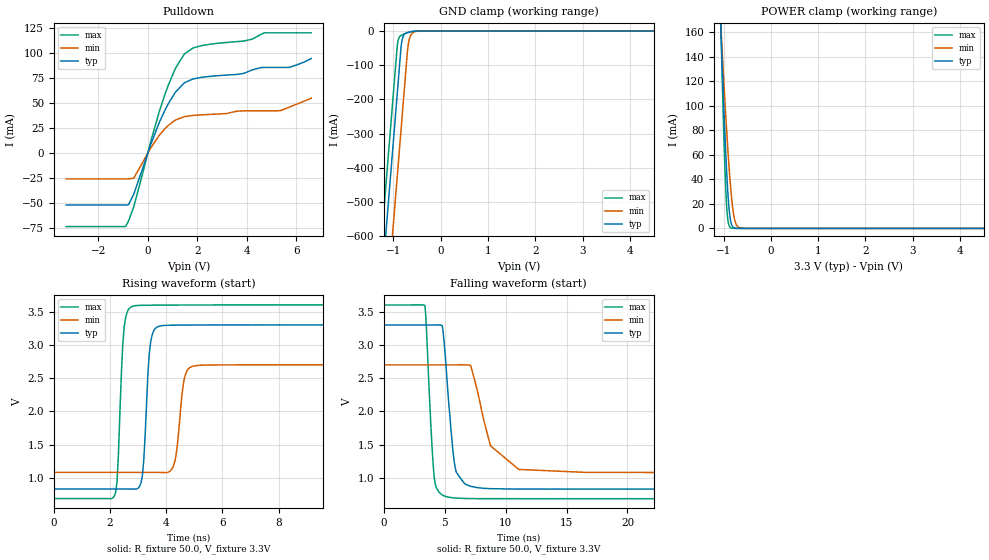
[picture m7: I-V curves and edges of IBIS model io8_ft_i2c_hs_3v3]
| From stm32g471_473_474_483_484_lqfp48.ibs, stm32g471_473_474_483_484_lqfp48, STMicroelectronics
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[Model]   io8_ft_i2c_hs_3v3
Model_type I/O_open_drain
Polarity   Non-Inverting
Enable   Active-Low
| CAP_THRESHOLD on pad IOFT is "UDTCAPC" :
| Rising=30.0% of vddiom   Falling=70.0% of vddiom
| C_comp min and max val. don't necessarily correlate with the min and max pvt
| but are the smallest and greatest pad capacitance found.
| var   typ   min   max
C_comp   2.58496pF  2.53515pF  2.60374pF
|C_comp_pulldown   2.58496pF  2.53515pF  2.60374pF
Vinl = 1.35V
Vinh = 1.8V
Vmeas = 1.65V   | Reference voltage for timing measurements
Cref  = 50.0pF   | Timing specification test load capacitance value
Rref  = 1.0MOhm   | Timing specification test load resistance value
Vref  = 1.815V   | Timing specification test load voltage
[Model Spec]
| TIME_THRESHOLD on pin ZIV12 is "CMOS" :
| Rising=50.0% of vdd   Falling=50.0% of vdd
Vinl 1.34770V 1.11370V 1.44970V
Vinh 1.77530V 1.49530V 1.90330V
| variable   typ   min   max
[Temperature Range] 25.0 125.0 -40.0
| variable   typ   min   max
[Voltage Range] 3.3V 2.7V 3.6V
| variable   typ   min   max
[POWER Clamp Reference] 3.3V 2.7V 3.6V
| variable   typ   min   max
[GND Clamp Reference] 0V 0V 0V
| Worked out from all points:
|   slope of the pulldown table from 0 to 0.495 V, typ, clamps not added: 15.4 ohm
|   GND clamp passes 1 mA (typ) near -0.58 V on its own axis
|   POWER clamp passes 1 mA (typ) near -0.80 V on its own axis
|   rising waveform, R_fixture 50.0, V_fixture 3.3V: 20-80 % time 179ps typ, 228ps min, 168ps max; typ from 0.831 V to 3.3 V
|   falling waveform, R_fixture 50.0, V_fixture 3.3V: 20-80 % time 668ps typ, 1.67ns min, 470ps max; typ from 3.3 V to 0.831 V
[POWER Clamp]
-3.3V     3.015A     2.054A     3.978A
-1.06V    166.8mA    167.3mA    172.4mA
-1.05V    156mA      159.9mA    156.7mA
-980mV    85.12mA    110.1mA    59.21mA
-940mV    50.68mA    83.63mA    21.78mA
-920mV    36.19mA    71.13mA    10.91mA
-890mV    19.13mA    53.62mA    3.147mA
-840mV    4.466mA    28.96mA    309.8uA
-790mV    763.7uA    12.17mA    28.67uA
-740mV    119.7uA    3.892mA    2.636uA
-560mV    142.6nA    28.01uA    519.9pA
6.6V      0A         0A         0A
[GND Clamp]
-3.3V     -4.231A    -4.473A    -4.091A
-1.25V    -746.3mA   -988.1mA   -606.2mA
-930mV    -202.3mA   -444.1mA   -62.21mA
-910mV    -168.3mA   -410.1mA   -35.02mA
-840mV    -49.53mA   -291.1mA   -13.04mA
-820mV    -28.87mA   -257.1mA   -11.41mA
-780mV    -12.16mA   -189.1mA   -8.87mA
-720mV    -5.351mA   -87.09mA   -5.703mA
-690mV    -3.9mA     -43.52mA   -4.338mA
-650mV    -2.532mA   -17.76mA   -2.784mA
-480mV    -113.2uA   -482.1uA   -69.15uA
6.6V      840.8pA    92.11nA    588.9pA
| variable   typ   min   max
[Pullup Reference] 3.3V 2.7V 3.6V
| variable   typ   min   max
[Pulldown Reference] 0V 0V 0V
[Pulldown]
-3.3V     -51.88mA   -25.81mA   -73.46mA
-880mV    -51.88mA   -25.81mA   -72.73mA
-780mV    -51.61mA   -25.81mA   -67.86mA
-570mV    -41.39mA   -25.18mA   -53.99mA
120mV     8.622mA    5.148mA    11.58mA
690mV     42.7mA     24.28mA    58.45mA
1.08V     59.39mA    32.34mA    82.54mA
1.48V     70.24mA    36.36mA    99.08mA
2.17V     75.62mA    38.17mA    107.3mA
5.28V     85.5mA     42.2mA     120.1mA
5.73V     85.7mA     46mA       120.1mA
6.6V      94.4mA     54.7mA     120.1mA
[Ramp]
dV/dt_r 1.48132V/175.25722ps 971.08401mV/225.84085ps 1.74773V/163.95304ps
dV/dt_f 1.48135V/668.15979ps 971.11984mV/1.30309ns 1.74775V/469.40738ps
R_load = 50.0
| Removed startup time: 0s 0s 0s  .
| Removed end time: 24.75ns.
[Rising Waveform]
R_fixture   = 50.0
V_fixture   = 3.3V
V_fixture_min = 2.7V
V_fixture_max = 3.6V
0s        831.1mV    1.081V     687.1mV
2.15ns    831mV      1.081V     720.9mV
2.5ns     830.9mV    1.081V     3.247V
2.8ns     830.1mV    1.081V     3.579V
3.15ns    1.023V     1.081V     3.594V
3.4ns     2.876V     1.081V     3.596V
3.75ns    3.28V      1.08V      3.597V
4.3ns     3.296V     1.235V     3.598V
5ns       3.298V     2.682V     3.599V
24.75ns   3.3V       2.7V       3.6V
| Removed startup time: 0s 0s 0s  .
| Removed end time: 49.775ns.
[Falling Waveform]
R_fixture   = 50.0
V_fixture   = 3.3V
V_fixture_min = 2.7V
V_fixture_max = 3.6V
0s        3.3V       2.7V       3.6V
3.35ns    3.3V       2.7V       3.594V
4.125ns   3.3V       2.7V       1.021V
4.775ns   3.291V     2.7V       745mV
5.05ns    2.804V     2.7V       722.7mV
5.85ns    1.158V     2.7V       697.4mV
7.15ns    872mV      2.676V     688.8mV
8.75ns    837.8mV    1.483V     687.3mV
11.07ns   831.7mV    1.127V     687.1mV
49.78ns   831.1mV    1.081V     687.1mV
